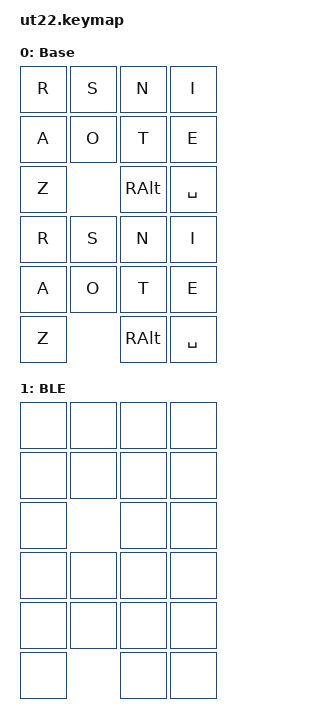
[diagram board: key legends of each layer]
/*
 * SPDX-License-Identifier: MIT
 */

#include <behaviors.dtsi>
#include <dt-bindings/zmk/keys.h>
#include <dt-bindings/zmk/bt.h>
#include <dt-bindings/zmk/outputs.h>

// Layer definitions
#define BASE 0
#define BLE 1
// -----------------

/ {

	keymap {
		compatible = "zmk,keymap";

		// LAYER: BASE 0
		default_layer {
			label = "Base";
			bindings = <
			&kp R &kp S &kp N &kp I   
			&kp A &kp O &kp T &kp E
			&kp Z       &kp RALT &kp SPACE 
			&kp R &kp S &kp N &kp I
            &kp A &kp O &kp T &kp E
            &kp Z       &kp RALT &kp SPACE   
			>;
		};

        // LAYER: BLE 1
		ble_layer {
			label = "BLE";
			bindings = <
			&none &none &none &none  
			&none &none &none &none
			&none       &none &none   
			&none &none &none &none
            &none &none &none &none
            &none       &none &none        
			>;
		};
    };
};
